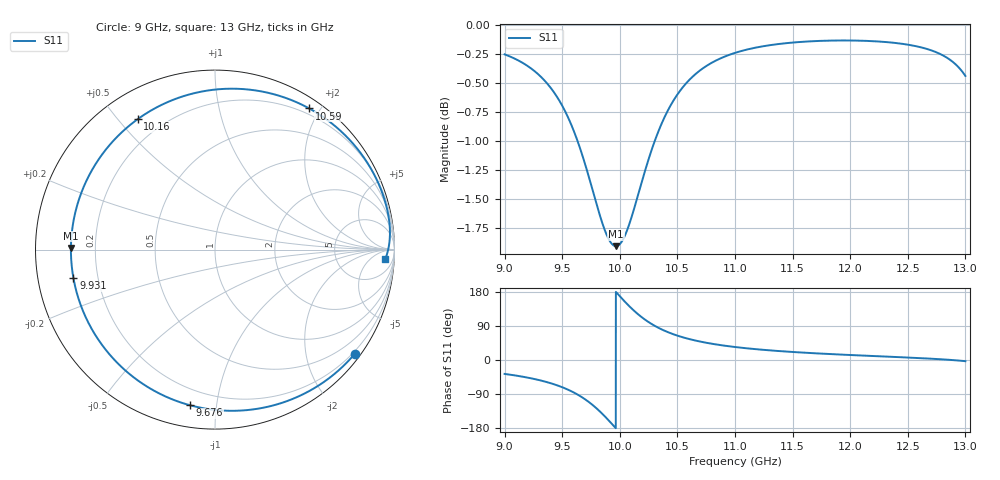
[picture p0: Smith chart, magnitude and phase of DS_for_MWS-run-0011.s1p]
! TOUCHSTONE file generated by CST DESIGN STUDIO
! Date and time: Wed Feb  5 13:27:58 2025
! Project name: C:\Work\MatlabApps\UnitCellOptimizationMatlab\CST\unitcell.cst
! Tree item: Tasks\Sweep1\SPara1\S-Parameters
! Header version: 2024
! Port assignment regex: !\s*Touchstone port\s*([0-9]+)\s*=\s*(CST MWS port|CST DES external port|CST DES block port)\s*(.+)\s* \(\"(.*)\"\)(\s*mode\s*([0-9]+))?.*
! Touchstone port assignment:
! Touchstone port 1 = CST DES external port 1 ("")
# GHz S MA R 50
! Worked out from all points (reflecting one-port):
!   4001 points, 9 GHz to 13 GHz, reference 50 ohm
!   lowest |S11| = -1.9 dB at 9.967 GHz (marker M1), VSWR 9.14, Z = 5.47 + j0.269 ohm
!   phase of S11 starts at -37 deg and turns -326 deg over the sweep
!   S11 on the Smith chart (normalised r, x): 9 GHz: 0.15, -3.01; 9.676 GHz: 0.11, -0.85; 9.931 GHz: 0.11, -0.10; 10.16 GHz: 0.11, +0.57; 10.59 GHz: 0.13, +1.86; 13 GHz: 18, -20
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9  0.9714 -36.7
9.148  0.9638 -43.6
9.282  0.9533 -51.8
9.397  0.94 -61.0
9.5  0.9231 -71.8
9.598  0.9009 -85.3
9.676  0.8783 -99.1
9.742  0.8564 -113.4
9.803  0.8355 -129.0
9.873  0.8149 -149.6
9.931  0.8047 -168.5
9.967  0.8028 179.4
10  0.8044 168.3
10.04  0.8104 155.1
10.084  0.821 141.4
10.159  0.8449 120.6
10.225  0.8672 105.2
10.298  0.8898 91.1
10.397  0.9145 76.1
10.5  0.9334 64.3
10.59  0.9455 56.3
10.772  0.9617 44.3
11  0.9728 34.3
11.222  0.9788 27.4
11.5  0.9829 21.2
12  0.9849 13.2
12.5  0.9808 6.5
13  0.9508 -3.1
